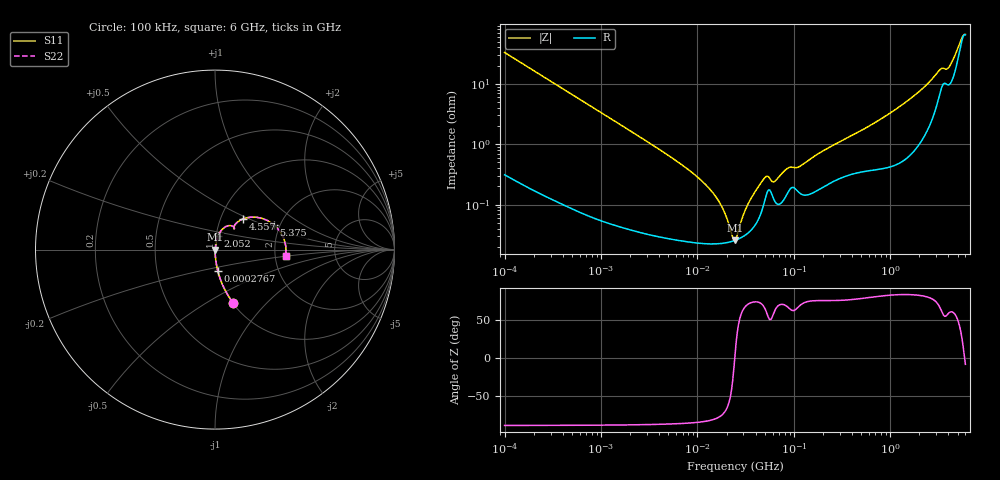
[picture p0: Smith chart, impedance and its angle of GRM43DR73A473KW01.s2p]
!Murata Part Number: GRM43DR73A473KW01
!These Parameters are Measured in Series Mode Connection
!Data Generated on Mar 30, 2021
!  o--ll--o
!Port1  Port2
!  o------o
!Operation Temp=25[degC], DC Bias Voltage=0[V]
!Freq. Start=100[kHz] Stop=6[GHz] 401[Steps]
# Hz S RI R 50
!Freq.(Hz) S11(Real) S11(Imag) S21(Real) S21(Imag) S12(Real) S12(Imag) S22(Real) S22(Imag)
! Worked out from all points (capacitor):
!   401 points, 100 kHz to 6 GHz, reference 50 ohm
!   read as one part in series: C = 48.2 nF near 105.7 kHz
!   lowest |Z| = 25.5 mohm at 24.49 MHz (marker M1)
!   series resonance near 24.37 MHz, so ESL is about 880 pH
!   S11 on the Smith chart (normalised r, x): 100 kHz: 1.01, -0.66; 276.7 kHz: 1.00, -0.24; 2.052 GHz: 1.02, +0.15; 4.557 GHz: 1.28, +0.46; 5.375 GHz: 1.86, +0.59; 6 GHz: 2.29, -0.20
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100000  0.1001 -0.2954  0.8999 0.2954  0.8999 0.2954  0.1001 -0.2954
276681  0.0154 -0.1177  0.9846 0.1177  0.9846 0.1177  0.0154 -0.1177
631452  0.00348 -0.0525  0.9965 0.0525  0.9965 0.0525  0.00348 -0.0525
3987316  0.000359 -0.00824  0.9996 0.00824  0.9996 0.00824  0.000359 -0.00824
1.374747e7  0.000226 -0.00171  0.9998 0.00171  0.9998 0.00171  0.000226 -0.00171
1.809991e7  0.000228 -0.000861  0.9998 0.000861  0.9998 0.000861  0.000228 -0.000861
2.318381e7  0.000247 -0.000144  0.9998 0.000144  0.9998 0.000144  0.000247 -0.000144
2.44949e7  0.000255 1.54e-05  0.9997 -1.54e-05  0.9997 -1.54e-05  0.000255 1.54e-05
2.517799e7  0.000259 9.52e-05  0.9997 -9.52e-05  0.9997 -9.52e-05  0.000259 9.52e-05
3.314933e7  0.000334 0.000935  0.9997 -0.000935  0.9997 -0.000935  0.000334 0.000935
4.872031e7  0.00102 0.00245  0.999 -0.00245  0.999 -0.00245  0.00102 0.00245
6.240487e7  0.00118 0.00207  0.9988 -0.00207  0.9988 -0.00207  0.00118 0.00207
8.680865e7  0.0016 0.00368  0.9984 -0.00368  0.9984 -0.00368  0.0016 0.00368
1.111915e8  0.00163 0.00383  0.9984 -0.00383  0.9984 -0.00383  0.00163 0.00383
1.546735e8  0.00157 0.00576  0.9984 -0.00576  0.9984 -0.00576  0.00157 0.00576
9.76689e8  0.00514 0.0315  0.9949 -0.0315  0.9949 -0.0315  0.00514 0.0315
2.052492e9  0.0162 0.0749  0.9838 -0.0749  0.9838 -0.0749  0.0162 0.0749
3.187187e9  0.0752 0.1334  0.9248 -0.1334  0.9248 -0.1334  0.0752 0.1334
3.971646e9  0.1051 0.1257  0.8949 -0.1257  0.8949 -0.1257  0.1051 0.1257
4.557193e9  0.1561 0.171  0.8439 -0.171  0.8439 -0.171  0.1561 0.171
5.374892e9  0.329 0.1384  0.671 -0.1384  0.671 -0.1384  0.329 0.1384
6e9  0.3948 -0.0365  0.6052 0.0365  0.6052 0.0365  0.3948 -0.0365
